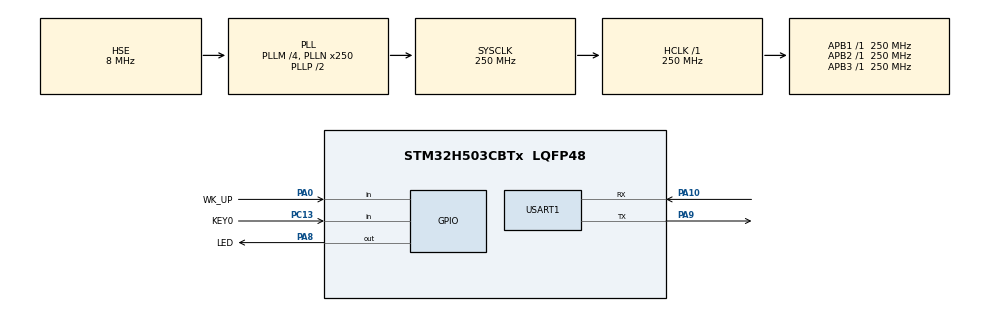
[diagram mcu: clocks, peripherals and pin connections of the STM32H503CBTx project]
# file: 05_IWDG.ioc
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BOOTPATH.BootPathName=LEGACY
BOOTPATH.UserSelectedBootPath=LEGACY
IWDG.Prescaler=IWDG_PRESCALER_64
IWDG.Reload=625
IWDG.Window=800
Mcu.Family=STM32H5
Mcu.Name=STM32H503CBTx
Mcu.Package=LQFP48
NVIC.PriorityGroup=NVIC_PRIORITYGROUP_2
NVIC.USART1_IRQn=true\:2\:2\:true\:false\:true\:true\:true\:true
PA0.GPIO_Label=WK_UP
PA0.GPIO_PuPd=GPIO_PULLDOWN
PA0.Signal=GPIO_Input
PA10.GPIO_ModeDefaultPP=GPIO_MODE_AF_PP
PA10.GPIO_Speed=GPIO_SPEED_FREQ_LOW
PA10.Mode=Asynchronous
PA10.Signal=USART1_RX
PA8.GPIO_Label=LED
PA8.GPIO_ModeDefaultOutputPP=GPIO_MODE_OUTPUT_PP
PA8.GPIO_PuPd=GPIO_PULLUP
PA8.PinState=GPIO_PIN_SET
PA8.Signal=GPIO_Output
PA9.GPIO_Speed=GPIO_SPEED_FREQ_HIGH
PA9.Mode=Asynchronous
PA9.Signal=USART1_TX
PC13.GPIO_Label=KEY0
PC13.GPIO_PuPd=GPIO_PULLDOWN
PC13.Signal=GPIO_Input
PC14-OSC32_IN(OSC32_IN).Mode=LSE-External-Oscillator
PC14-OSC32_IN(OSC32_IN).Signal=RCC_OSC32_IN
PC15-OSC32_OUT(OSC32_OUT).Mode=LSE-External-Oscillator
PC15-OSC32_OUT(OSC32_OUT).Signal=RCC_OSC32_OUT
PH0-OSC_IN(PH0).Mode=HSE-External-Oscillator
PH0-OSC_IN(PH0).Signal=RCC_OSC_IN
PH1-OSC_OUT(PH1).Mode=HSE-External-Oscillator
PH1-OSC_OUT(PH1).Signal=RCC_OSC_OUT
ProjectManager.HeapSize=0x200
ProjectManager.StackSize=0x400
ProjectManager.TargetToolchain=STM32CubeIDE
RCC.ADCFreq_Value=250000000
RCC.AHBFreq_Value=250000000
RCC.APB1Freq_Value=250000000
RCC.APB1TimFreq_Value=250000000
RCC.APB2Freq_Value=250000000
RCC.APB2TimFreq_Value=250000000
RCC.APB3Freq_Value=250000000
RCC.CSI_VALUE=4000000
RCC.CortexFreq_Value=250000000
RCC.EPOD_VALUE=8000000
RCC.HCLKFreq_Value=250000000
RCC.HSE_VALUE=8000000
RCC.HSI48_VALUE=48000000
RCC.HSI_VALUE=64000000
RCC.LSIRC_VALUE=32000
RCC.PLLM=4
RCC.PLLN=250
RCC.PLLSourceVirtual=RCC_PLL1_SOURCE_HSE
RCC.SYSCLKFreq_VALUE=250000000
RCC.SYSCLKSource=RCC_SYSCLKSOURCE_PLLCLK
RCC.USBFreq_Value=48000000
RCC.VCOOutputFreq_Value=500000000
USART1.VirtualMode=VM_ASYNC
VP_BOOTPATH_VS_BOOTPATH.Mode=BP_Activate
VP_ICACHE_VS_ICACHE.Mode=DefaultMode
VP_IWDG_VS_IWDG.Mode=IWDG_Activate
VP_MEMORYMAP_VS_MEMORYMAP.Mode=CurAppReg
VP_PWR_VS_DBSignals.Mode=DisableDeadBatterySignals
VP_PWR_VS_LPOM.Mode=PowerOptimisation
VP_PWR_VS_SECSignals.Mode=Security/Privilege
board=custom

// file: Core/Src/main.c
/**
 ****************************************************************************************************
 * @file        main.c
 * @author      ALIENTEK
 * @brief       IWDG code
 * @license     Copyright (C) 2012-2024, ALIENTEK
 ****************************************************************************************************
 * @attention
 *
 * platform     : ALIENTEK M48-STM32H503 board
 * website      : www.alientek.com
 * forum        : www.openedv.com/forum.php
 *
 * change logs  ：
 * version      data         notes
 * V1.0         20240309     the first version
 *
 ****************************************************************************************************
 */

/* USER CODE BEGIN Header */

/* USER CODE END Header */
#include "main.h"
#include "icache.h"
#include "iwdg.h"
#include "memorymap.h"
#include "usart.h"
#include "gpio.h"

/* USER CODE BEGIN Includes */
#include "../../BSP/LED/led.h"
#include "../../BSP/KEY/key.h"
/* USER CODE END Includes */

void SystemClock_Config(void);

/* USER CODE BEGIN 0 */
/**
 * @brief   Displays information about the experiment
 * @param   None
 * @retval  None
 */
void stm32h503cb_show_mesg(void)
{
	/* The serial port outputs the experimental information */
	printf("\n");
	printf("********************************\r\n");
	printf("STM32H503\r\n");
	printf("IWDG Test\r\n");
	printf("ATOM@ALIENTEK\r\n");
	printf("********************************\r\n");
	printf("\r\n");
}
/* USER CODE END 0 */

int main(void)
{

  /* MCU Configuration--------------------------------------------------------*/

  /* Reset of all peripherals, Initializes the Flash interface and the Systick. */
  HAL_Init();

  /* Configure the system clock */
  SystemClock_Config();

  /* Initialize all configured peripherals */
  MX_GPIO_Init();
  MX_ICACHE_Init();
  MX_USART1_UART_Init();
  MX_IWDG_Init();
  /* USER CODE BEGIN 2 */
  HAL_Delay(100);   		 /* delay 100ms */
  LED(0);                    /* turn on LED */
  stm32h503cb_show_mesg();
  /* USER CODE END 2 */

  /* Infinite loop */
  /* USER CODE BEGIN WHILE */
  while (1)
  {
	  if (key_scan(0) == WKUP_PRES)        /* If WK_UP is pressed, the dog is fed. */
	  {
		  iwdg_feed();                     /* feed the dog */
	  }

	  HAL_Delay(10);   		 /* delay 10ms */
    /* USER CODE END WHILE */

  }
}

void SystemClock_Config(void)
{
  RCC_OscInitTypeDef RCC_OscInitStruct = {0};
  RCC_ClkInitTypeDef RCC_ClkInitStruct = {0};

  /** Configure the main internal regulator output voltage
  */
  __HAL_PWR_VOLTAGESCALING_CONFIG(PWR_REGULATOR_VOLTAGE_SCALE0);

  while(!__HAL_PWR_GET_FLAG(PWR_FLAG_VOSRDY)) {}

  /** Initializes the RCC Oscillators according to the specified parameters
  * in the RCC_OscInitTypeDef structure.
  */
  RCC_OscInitStruct.OscillatorType = RCC_OSCILLATORTYPE_LSI|RCC_OSCILLATORTYPE_HSE;
  RCC_OscInitStruct.HSEState = RCC_HSE_ON;
  RCC_OscInitStruct.LSIState = RCC_LSI_ON;
  RCC_OscInitStruct.PLL.PLLState = RCC_PLL_ON;
  RCC_OscInitStruct.PLL.PLLSource = RCC_PLL1_SOURCE_HSE;
  RCC_OscInitStruct.PLL.PLLM = 4;
  RCC_OscInitStruct.PLL.PLLN = 250;
  RCC_OscInitStruct.PLL.PLLP = 2;
  RCC_OscInitStruct.PLL.PLLQ = 2;
  RCC_OscInitStruct.PLL.PLLR = 2;
  RCC_OscInitStruct.PLL.PLLRGE = RCC_PLL1_VCIRANGE_1;
  RCC_OscInitStruct.PLL.PLLVCOSEL = RCC_PLL1_VCORANGE_WIDE;
  RCC_OscInitStruct.PLL.PLLFRACN = 0;
  if (HAL_RCC_OscConfig(&RCC_OscInitStruct) != HAL_OK)
  {
    Error_Handler();
  }

  /** Initializes the CPU, AHB and APB buses clocks
  */
  RCC_ClkInitStruct.ClockType = RCC_CLOCKTYPE_HCLK|RCC_CLOCKTYPE_SYSCLK
                              |RCC_CLOCKTYPE_PCLK1|RCC_CLOCKTYPE_PCLK2
                              |RCC_CLOCKTYPE_PCLK3;
  RCC_ClkInitStruct.SYSCLKSource = RCC_SYSCLKSOURCE_PLLCLK;
  RCC_ClkInitStruct.AHBCLKDivider = RCC_SYSCLK_DIV1;
  RCC_ClkInitStruct.APB1CLKDivider = RCC_HCLK_DIV1;
  RCC_ClkInitStruct.APB2CLKDivider = RCC_HCLK_DIV1;
  RCC_ClkInitStruct.APB3CLKDivider = RCC_HCLK_DIV1;

  if (HAL_RCC_ClockConfig(&RCC_ClkInitStruct, FLASH_LATENCY_5) != HAL_OK)
  {
    Error_Handler();
  }
}

void Error_Handler(void)
{
  __disable_irq();
  while (1)
  {
  }
}
